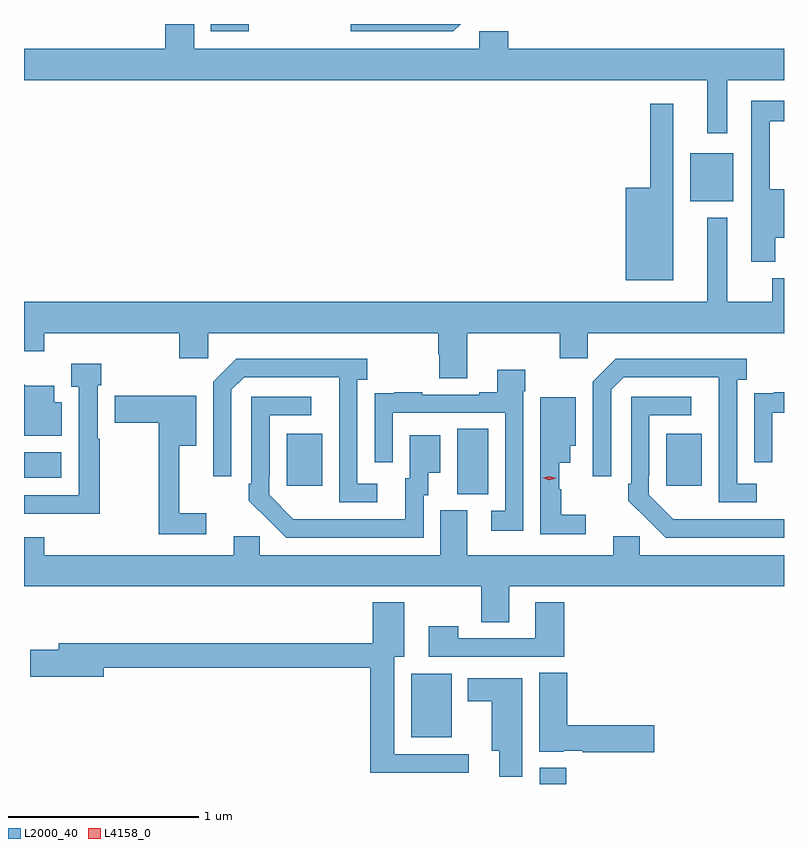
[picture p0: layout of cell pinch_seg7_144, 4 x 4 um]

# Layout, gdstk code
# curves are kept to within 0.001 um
import gdstk
lib = gdstk.Library(unit=1e-6, precision=1e-09)
def R(c, l, rs):  # rectangles x0, y0, x1, y1
    for r in rs: c.add(gdstk.rectangle(r[:2], r[2:], *l))
def P(c, l, *ps):  # polygons
    for p in ps: c.add(gdstk.Polygon(p, *l))
L2000_40 = (2000, 40)
L4158_0 = (4158, 0)

pinch_seg7_144 = lib.new_cell('pinch_seg7_144')
R(pinch_seg7_144, L2000_40, [(1035.149,1010.231,1035.29,1010.317), (1034.474,1010.477,1034.686,1010.812), (1034.714,1011.757,1034.878,1012.1), (1033.817,1011.801,1034.005,1012.075), (1035.815,1011.801,1036.003,1012.075), (1032.435,1011.842,1032.631,1011.976), (1035.941,1013.297,1036.168,1013.551), (1033.419,1014.192,1033.618,1014.231)])
P(pinch_seg7_144, L2000_40, [(1036.135,1013.936),(1036.435,1013.936),(1036.435,1014.1),(1034.984,1014.1),(1034.984,1014.193),(1034.832,1014.193),(1034.832,1014.1),(1033.33,1014.1),(1033.33,1014.231),(1033.178,1014.231),(1033.178,1014.1),(1032.435,1014.1),(1032.435,1013.936),(1036.031,1013.936),(1036.031,1013.655),(1036.135,1013.655)],
  [(1034.733,1014.231),(1034.154,1014.231),(1034.154,1014.192),(1034.694,1014.192)],
  [(1036.39,1013.105),(1036.435,1013.105),(1036.435,1013.362),(1036.361,1013.362),(1036.361,1013.718),(1036.435,1013.718),(1036.435,1013.826),(1036.263,1013.826),(1036.263,1012.979),(1036.39,1012.979)],
  [(1035.853,1013.812),(1035.732,1013.812),(1035.732,1013.368),(1035.602,1013.368),(1035.602,1012.883),(1035.853,1012.883)],
  [(1034.767,1012.604),(1035.256,1012.604),(1035.256,1012.473),(1035.402,1012.473),(1035.402,1012.604),(1036.435,1012.604),(1036.435,1012.894),(1036.373,1012.894),(1036.373,1012.768),(1036.135,1012.768),(1036.135,1013.212),(1036.031,1013.212),(1036.031,1012.768),(1032.435,1012.768),(1032.435,1012.509),(1032.542,1012.509),(1032.542,1012.604),(1033.253,1012.604),(1033.253,1012.473),(1033.404,1012.473),(1033.404,1012.604),(1034.615,1012.604),(1034.615,1012.491),(1034.62,1012.491),(1034.62,1012.366),(1034.767,1012.366)],
  [(1034.293,1011.81),(1034.19,1011.81),(1034.19,1012.358),(1034.242,1012.358),(1034.242,1012.468),(1033.552,1012.468),(1033.431,1012.347),(1033.431,1011.852),(1033.527,1011.852),(1033.527,1012.305),(1033.593,1012.371),(1034.093,1012.371),(1034.094,1011.714),(1034.293,1011.714)],
  [(1036.291,1011.81),(1036.188,1011.81),(1036.188,1012.358),(1036.24,1012.358),(1036.24,1012.468),(1035.55,1012.468),(1035.429,1012.347),(1035.429,1011.852),(1035.525,1011.852),(1035.525,1012.305),(1035.591,1012.371),(1036.091,1012.371),(1036.092,1011.714),(1036.291,1011.714)],
  [(1032.833,1012.049),(1032.823,1012.049),(1032.823,1012.331),(1032.841,1012.331),(1032.841,1012.444),(1032.683,1012.444),(1032.683,1012.323),(1032.722,1012.323),(1032.722,1011.75),(1032.435,1011.75),(1032.435,1011.654),(1032.6,1011.654),(1032.6,1011.653),(1032.833,1011.653)],
  [(1035.063,1012.298),(1035.072,1012.298),(1035.072,1012.411),(1034.927,1012.411),(1034.927,1012.294),(1034.831,1012.294),(1034.831,1012.281),(1034.531,1012.281),(1034.531,1012.294),(1034.383,1012.294),(1034.383,1012.287),(1034.281,1012.287),(1034.281,1012.178),(1034.28,1012.178),(1034.28,1011.924),(1034.376,1011.924),(1034.376,1012.185),(1034.967,1012.185),(1034.967,1011.669),(1034.895,1011.669),(1034.895,1011.564),(1035.063,1011.564)],
  [(1032.634,1012.24),(1032.595,1012.24),(1032.595,1012.327),(1032.443,1012.327),(1032.435,1012.335),(1032.435,1012.064),(1032.634,1012.064)],
  [(1036.374,1012.185),(1036.435,1012.185),(1036.435,1012.294),(1036.381,1012.294),(1036.381,1012.287),(1036.279,1012.287),(1036.279,1012.178),(1036.278,1012.178),(1036.278,1011.924),(1036.374,1011.924)],
  [(1033.393,1011.655),(1033.253,1011.655),(1033.253,1012.01),(1033.342,1012.01),(1033.342,1012.275),(1032.912,1012.275),(1032.912,1012.133),(1033.143,1012.133),(1033.143,1011.546),(1033.393,1011.546)],
  [(1034.538,1011.75),(1034.563,1011.75),(1034.563,1011.869),(1034.626,1011.869),(1034.626,1012.066),(1034.465,1012.066),(1034.465,1011.84),(1034.441,1011.84),(1034.441,1011.624),(1033.853,1011.625),(1033.725,1011.753),(1033.725,1011.853),(1033.728,1011.853),(1033.728,1012.173),(1033.948,1012.173),(1033.948,1012.269),(1033.632,1012.269),(1033.632,1011.811),(1033.617,1011.811),(1033.617,1011.723),(1033.814,1011.528),(1034.538,1011.528)],
  [(1036.435,1011.624),(1035.852,1011.625),(1035.723,1011.753),(1035.723,1011.853),(1035.726,1011.853),(1035.726,1012.173),(1035.946,1012.173),(1035.946,1012.269),(1035.63,1012.269),(1035.63,1011.811),(1035.615,1011.811),(1035.615,1011.723),(1035.812,1011.528),(1036.435,1011.528)],
  [(1035.391,1011.647),(1035.262,1011.647),(1035.262,1011.783),(1035.251,1011.783),(1035.251,1011.923),(1035.31,1011.923),(1035.31,1012.01),(1035.34,1012.01),(1035.34,1012.267),(1035.152,1012.267),(1035.152,1012.027),(1035.153,1012.027),(1035.153,1011.546),(1035.391,1011.546)],
  [(1034.989,1011.272),(1036.435,1011.272),(1036.435,1011.436),(1035.675,1011.436),(1035.675,1011.534),(1035.536,1011.534),(1035.536,1011.436),(1034.767,1011.436),(1034.767,1011.672),(1034.627,1011.672),(1034.627,1011.436),(1033.677,1011.436),(1033.677,1011.534),(1033.538,1011.534),(1033.538,1011.436),(1032.542,1011.436),(1032.542,1011.529),(1032.435,1011.529),(1032.435,1011.272),(1034.842,1011.272),(1034.842,1011.082),(1034.989,1011.082)],
  [(1035.278,1011.187),(1035.125,1011.187),(1035.125,1010.997),(1034.721,1010.997),(1034.721,1011.061),(1034.565,1011.061),(1034.565,1010.901),(1035.278,1010.901)],
  [(1034.776,1010.388),(1034.383,1010.388),(1034.383,1010.9),(1034.437,1010.9),(1034.437,1011.187),(1034.27,1011.187),(1034.27,1010.971),(1032.617,1010.971),(1032.617,1010.937),(1032.468,1010.937),(1032.468,1010.795),(1032.856,1010.795),(1032.856,1010.842),(1034.257,1010.842),(1034.257,1010.291),(1034.776,1010.291)],
  [(1035.751,1010.54),(1035.293,1010.54),(1035.293,1010.816),(1035.146,1010.816),(1035.146,1010.402),(1035.276,1010.402),(1035.276,1010.405),(1035.376,1010.405),(1035.376,1010.398),(1035.751,1010.398)],
  [(1035.058,1010.788),(1034.771,1010.788),(1034.771,1010.666),(1034.897,1010.666),(1034.897,1010.405),(1034.936,1010.405),(1034.936,1010.268),(1035.058,1010.268)])
P(pinch_seg7_144, L4158_0, [(1035.2,1011.83),(1035.165,1011.842),(1035.165,1011.842),(1035.165,1011.842),(1035.201,1011.85),(1035.236,1011.839),(1035.236,1011.839),(1035.236,1011.839)])

lib.write_gds('pinch_seg7_144.gds')
